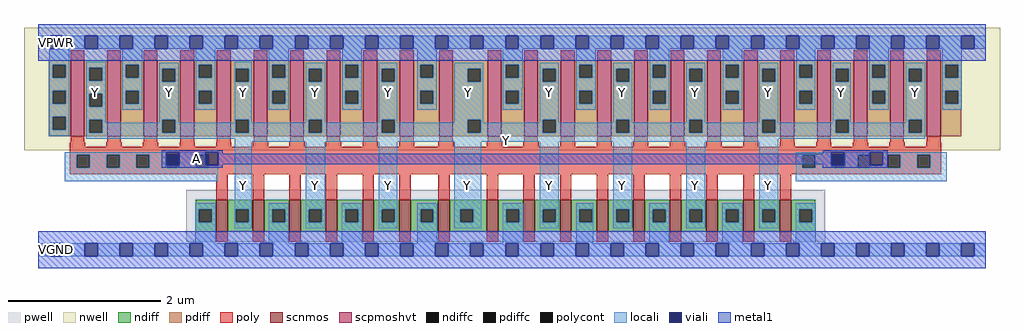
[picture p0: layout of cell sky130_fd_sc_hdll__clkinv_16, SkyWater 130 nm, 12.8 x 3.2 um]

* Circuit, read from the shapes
.subckt sky130_fd_sc_hdll__clkinv_16 A VGND VNB VPB VPWR Y
XM1 Y A VGND VNB sky130_fd_pr__nfet_01v8 w=0.42 l=0.15 m=16
XM2 Y A VPWR VPB sky130_fd_pr__pfet_01v8_hvt w=1 l=0.18 m=24
.ends

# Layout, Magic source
magic
tech sky130A
magscale 1 2
<< nwell >>
rect -38 261 2522 582
<< pwell >>
rect 387 21 2063 157
rect 29 -17 63 17
<< scnmos >>
rect 466 47 496 131
rect 562 47 592 131
rect 658 47 688 131
rect 754 47 784 131
rect 850 47 880 131
rect 946 47 976 131
rect 1049 47 1079 131
rect 1176 47 1206 131
rect 1272 47 1302 131
rect 1368 47 1398 131
rect 1464 47 1494 131
rect 1560 47 1590 131
rect 1656 47 1686 131
rect 1752 47 1782 131
rect 1848 47 1878 131
rect 1944 47 1974 131
<< scpmoshvt >>
rect 84 297 120 497
rect 180 297 216 497
rect 276 297 312 497
rect 372 297 408 497
rect 468 297 504 497
rect 564 297 600 497
rect 660 297 696 497
rect 756 297 792 497
rect 852 297 888 497
rect 948 297 984 497
rect 1051 297 1087 497
rect 1178 297 1214 497
rect 1274 297 1310 497
rect 1370 297 1406 497
rect 1466 297 1502 497
rect 1562 297 1598 497
rect 1658 297 1694 497
rect 1754 297 1790 497
rect 1850 297 1886 497
rect 1946 297 1982 497
rect 2042 297 2078 497
rect 2138 297 2174 497
rect 2234 297 2270 497
rect 2330 297 2366 497
<< ndiff >>
rect 413 106 466 131
rect 413 72 421 106
rect 455 72 466 106
rect 413 47 466 72
rect 496 106 562 131
rect 496 72 517 106
rect 551 72 562 106
rect 496 47 562 72
rect 592 106 658 131
rect 592 72 613 106
rect 647 72 658 106
rect 592 47 658 72
rect 688 106 754 131
rect 688 72 709 106
rect 743 72 754 106
rect 688 47 754 72
rect 784 106 850 131
rect 784 72 805 106
rect 839 72 850 106
rect 784 47 850 72
rect 880 106 946 131
rect 880 72 901 106
rect 935 72 946 106
rect 880 47 946 72
rect 976 106 1049 131
rect 976 72 1002 106
rect 1036 72 1049 106
rect 976 47 1049 72
rect 1079 106 1176 131
rect 1079 72 1106 106
rect 1140 72 1176 106
rect 1079 47 1176 72
rect 1206 106 1272 131
rect 1206 72 1227 106
rect 1261 72 1272 106
rect 1206 47 1272 72
rect 1302 106 1368 131
rect 1302 72 1323 106
rect 1357 72 1368 106
rect 1302 47 1368 72
rect 1398 106 1464 131
rect 1398 72 1419 106
rect 1453 72 1464 106
rect 1398 47 1464 72
rect 1494 106 1560 131
rect 1494 72 1515 106
rect 1549 72 1560 106
rect 1494 47 1560 72
rect 1590 106 1656 131
rect 1590 72 1611 106
rect 1645 72 1656 106
rect 1590 47 1656 72
rect 1686 106 1752 131
rect 1686 72 1707 106
rect 1741 72 1752 106
rect 1686 47 1752 72
rect 1782 106 1848 131
rect 1782 72 1803 106
rect 1837 72 1848 106
rect 1782 47 1848 72
rect 1878 106 1944 131
rect 1878 72 1899 106
rect 1933 72 1944 106
rect 1878 47 1944 72
rect 1974 106 2037 131
rect 1974 72 1995 106
rect 2029 72 2037 106
rect 1974 47 2037 72
<< pdiff >>
rect 27 485 84 497
rect 27 451 38 485
rect 72 451 84 485
rect 27 417 84 451
rect 27 383 38 417
rect 72 383 84 417
rect 27 349 84 383
rect 27 315 38 349
rect 72 315 84 349
rect 27 297 84 315
rect 120 477 180 497
rect 120 443 133 477
rect 167 443 180 477
rect 120 409 180 443
rect 120 375 133 409
rect 167 375 180 409
rect 120 341 180 375
rect 120 307 133 341
rect 167 307 180 341
rect 120 297 180 307
rect 216 485 276 497
rect 216 451 229 485
rect 263 451 276 485
rect 216 417 276 451
rect 216 383 229 417
rect 263 383 276 417
rect 216 297 276 383
rect 312 474 372 497
rect 312 440 325 474
rect 359 440 372 474
rect 312 341 372 440
rect 312 307 325 341
rect 359 307 372 341
rect 312 297 372 307
rect 408 485 468 497
rect 408 451 421 485
rect 455 451 468 485
rect 408 417 468 451
rect 408 383 421 417
rect 455 383 468 417
rect 408 297 468 383
rect 504 474 564 497
rect 504 440 517 474
rect 551 440 564 474
rect 504 341 564 440
rect 504 307 517 341
rect 551 307 564 341
rect 504 297 564 307
rect 600 485 660 497
rect 600 451 613 485
rect 647 451 660 485
rect 600 417 660 451
rect 600 383 613 417
rect 647 383 660 417
rect 600 297 660 383
rect 696 474 756 497
rect 696 440 709 474
rect 743 440 756 474
rect 696 341 756 440
rect 696 307 709 341
rect 743 307 756 341
rect 696 297 756 307
rect 792 485 852 497
rect 792 451 805 485
rect 839 451 852 485
rect 792 417 852 451
rect 792 383 805 417
rect 839 383 852 417
rect 792 297 852 383
rect 888 474 948 497
rect 888 440 901 474
rect 935 440 948 474
rect 888 341 948 440
rect 888 307 901 341
rect 935 307 948 341
rect 888 297 948 307
rect 984 485 1051 497
rect 984 451 1001 485
rect 1035 451 1051 485
rect 984 417 1051 451
rect 984 383 1001 417
rect 1035 383 1051 417
rect 984 297 1051 383
rect 1087 474 1178 497
rect 1087 440 1126 474
rect 1160 440 1178 474
rect 1087 341 1178 440
rect 1087 307 1126 341
rect 1160 307 1178 341
rect 1087 297 1178 307
rect 1214 485 1274 497
rect 1214 451 1226 485
rect 1260 451 1274 485
rect 1214 417 1274 451
rect 1214 383 1226 417
rect 1260 383 1274 417
rect 1214 297 1274 383
rect 1310 474 1370 497
rect 1310 440 1323 474
rect 1357 440 1370 474
rect 1310 341 1370 440
rect 1310 307 1323 341
rect 1357 307 1370 341
rect 1310 297 1370 307
rect 1406 485 1466 497
rect 1406 451 1419 485
rect 1453 451 1466 485
rect 1406 417 1466 451
rect 1406 383 1419 417
rect 1453 383 1466 417
rect 1406 297 1466 383
rect 1502 474 1562 497
rect 1502 440 1515 474
rect 1549 440 1562 474
rect 1502 341 1562 440
rect 1502 307 1515 341
rect 1549 307 1562 341
rect 1502 297 1562 307
rect 1598 485 1658 497
rect 1598 451 1611 485
rect 1645 451 1658 485
rect 1598 417 1658 451
rect 1598 383 1611 417
rect 1645 383 1658 417
rect 1598 297 1658 383
rect 1694 474 1754 497
rect 1694 440 1707 474
rect 1741 440 1754 474
rect 1694 341 1754 440
rect 1694 307 1707 341
rect 1741 307 1754 341
rect 1694 297 1754 307
rect 1790 485 1850 497
rect 1790 451 1803 485
rect 1837 451 1850 485
rect 1790 417 1850 451
rect 1790 383 1803 417
rect 1837 383 1850 417
rect 1790 297 1850 383
rect 1886 474 1946 497
rect 1886 440 1899 474
rect 1933 440 1946 474
rect 1886 341 1946 440
rect 1886 307 1899 341
rect 1933 307 1946 341
rect 1886 297 1946 307
rect 1982 485 2042 497
rect 1982 451 1995 485
rect 2029 451 2042 485
rect 1982 417 2042 451
rect 1982 383 1995 417
rect 2029 383 2042 417
rect 1982 297 2042 383
rect 2078 474 2138 497
rect 2078 440 2091 474
rect 2125 440 2138 474
rect 2078 341 2138 440
rect 2078 307 2091 341
rect 2125 307 2138 341
rect 2078 297 2138 307
rect 2174 485 2234 497
rect 2174 451 2187 485
rect 2221 451 2234 485
rect 2174 417 2234 451
rect 2174 383 2187 417
rect 2221 383 2234 417
rect 2174 297 2234 383
rect 2270 474 2330 497
rect 2270 440 2283 474
rect 2317 440 2330 474
rect 2270 341 2330 440
rect 2270 307 2283 341
rect 2317 307 2330 341
rect 2270 297 2330 307
rect 2366 485 2421 497
rect 2366 451 2378 485
rect 2412 451 2421 485
rect 2366 417 2421 451
rect 2366 383 2378 417
rect 2412 383 2421 417
rect 2366 297 2421 383
<< ndiffc >>
rect 421 72 455 106
rect 517 72 551 106
rect 613 72 647 106
rect 709 72 743 106
rect 805 72 839 106
rect 901 72 935 106
rect 1002 72 1036 106
rect 1106 72 1140 106
rect 1227 72 1261 106
rect 1323 72 1357 106
rect 1419 72 1453 106
rect 1515 72 1549 106
rect 1611 72 1645 106
rect 1707 72 1741 106
rect 1803 72 1837 106
rect 1899 72 1933 106
rect 1995 72 2029 106
<< pdiffc >>
rect 38 451 72 485
rect 38 383 72 417
rect 38 315 72 349
rect 133 443 167 477
rect 133 375 167 409
rect 133 307 167 341
rect 229 451 263 485
rect 229 383 263 417
rect 325 440 359 474
rect 325 307 359 341
rect 421 451 455 485
rect 421 383 455 417
rect 517 440 551 474
rect 517 307 551 341
rect 613 451 647 485
rect 613 383 647 417
rect 709 440 743 474
rect 709 307 743 341
rect 805 451 839 485
rect 805 383 839 417
rect 901 440 935 474
rect 901 307 935 341
rect 1001 451 1035 485
rect 1001 383 1035 417
rect 1126 440 1160 474
rect 1126 307 1160 341
rect 1226 451 1260 485
rect 1226 383 1260 417
rect 1323 440 1357 474
rect 1323 307 1357 341
rect 1419 451 1453 485
rect 1419 383 1453 417
rect 1515 440 1549 474
rect 1515 307 1549 341
rect 1611 451 1645 485
rect 1611 383 1645 417
rect 1707 440 1741 474
rect 1707 307 1741 341
rect 1803 451 1837 485
rect 1803 383 1837 417
rect 1899 440 1933 474
rect 1899 307 1933 341
rect 1995 451 2029 485
rect 1995 383 2029 417
rect 2091 440 2125 474
rect 2091 307 2125 341
rect 2187 451 2221 485
rect 2187 383 2221 417
rect 2283 440 2317 474
rect 2283 307 2317 341
rect 2378 451 2412 485
rect 2378 383 2412 417
<< poly >>
rect 84 497 120 523
rect 180 497 216 523
rect 276 497 312 523
rect 372 497 408 523
rect 468 497 504 523
rect 564 497 600 523
rect 660 497 696 523
rect 756 497 792 523
rect 852 497 888 523
rect 948 497 984 523
rect 1051 497 1087 523
rect 1178 497 1214 523
rect 1274 497 1310 523
rect 1370 497 1406 523
rect 1466 497 1502 523
rect 1562 497 1598 523
rect 1658 497 1694 523
rect 1754 497 1790 523
rect 1850 497 1886 523
rect 1946 497 1982 523
rect 2042 497 2078 523
rect 2138 497 2174 523
rect 2234 497 2270 523
rect 2330 497 2366 523
rect 84 282 120 297
rect 180 282 216 297
rect 276 282 312 297
rect 372 282 408 297
rect 468 282 504 297
rect 564 282 600 297
rect 660 282 696 297
rect 756 282 792 297
rect 852 282 888 297
rect 948 282 984 297
rect 1051 282 1087 297
rect 1178 282 1214 297
rect 1274 282 1310 297
rect 1370 282 1406 297
rect 1466 282 1502 297
rect 1562 282 1598 297
rect 1658 282 1694 297
rect 1754 282 1790 297
rect 1850 282 1886 297
rect 1946 282 1982 297
rect 2042 282 2078 297
rect 2138 282 2174 297
rect 2234 282 2270 297
rect 2330 282 2366 297
rect 82 270 122 282
rect 178 270 218 282
rect 274 270 314 282
rect 370 270 410 282
rect 466 270 506 282
rect 562 270 602 282
rect 658 270 698 282
rect 754 270 794 282
rect 850 270 890 282
rect 946 270 986 282
rect 1049 270 1089 282
rect 1176 270 1216 282
rect 1272 270 1312 282
rect 1368 270 1408 282
rect 1464 270 1504 282
rect 1560 270 1600 282
rect 1656 270 1696 282
rect 1752 270 1792 282
rect 1848 270 1888 282
rect 1944 270 1984 282
rect 2040 270 2080 282
rect 2136 270 2176 282
rect 2232 270 2272 282
rect 2328 270 2368 282
rect 82 249 2368 270
rect 82 215 101 249
rect 135 215 179 249
rect 213 215 257 249
rect 291 215 335 249
rect 369 215 413 249
rect 447 215 2003 249
rect 2037 215 2081 249
rect 2115 215 2149 249
rect 2183 215 2227 249
rect 2261 215 2305 249
rect 2339 215 2368 249
rect 82 198 2368 215
rect 466 131 496 198
rect 562 131 592 198
rect 658 131 688 198
rect 754 131 784 198
rect 850 131 880 198
rect 946 131 976 198
rect 1049 131 1079 198
rect 1176 131 1206 198
rect 1272 131 1302 198
rect 1368 131 1398 198
rect 1464 131 1494 198
rect 1560 131 1590 198
rect 1656 131 1686 198
rect 1752 131 1782 198
rect 1848 131 1878 198
rect 1944 131 1974 198
rect 466 21 496 47
rect 562 21 592 47
rect 658 21 688 47
rect 754 21 784 47
rect 850 21 880 47
rect 946 21 976 47
rect 1049 21 1079 47
rect 1176 21 1206 47
rect 1272 21 1302 47
rect 1368 21 1398 47
rect 1464 21 1494 47
rect 1560 21 1590 47
rect 1656 21 1686 47
rect 1752 21 1782 47
rect 1848 21 1878 47
rect 1944 21 1974 47
<< polycont >>
rect 101 215 135 249
rect 179 215 213 249
rect 257 215 291 249
rect 335 215 369 249
rect 413 215 447 249
rect 2003 215 2037 249
rect 2081 215 2115 249
rect 2149 215 2183 249
rect 2227 215 2261 249
rect 2305 215 2339 249
<< locali >>
rect 0 527 29 561
rect 63 527 121 561
rect 155 527 213 561
rect 247 527 305 561
rect 339 527 397 561
rect 431 527 489 561
rect 523 527 581 561
rect 615 527 673 561
rect 707 527 765 561
rect 799 527 857 561
rect 891 527 949 561
rect 983 527 1041 561
rect 1075 527 1133 561
rect 1167 527 1225 561
rect 1259 527 1317 561
rect 1351 527 1409 561
rect 1443 527 1501 561
rect 1535 527 1593 561
rect 1627 527 1685 561
rect 1719 527 1777 561
rect 1811 527 1869 561
rect 1903 527 1961 561
rect 1995 527 2053 561
rect 2087 527 2145 561
rect 2179 527 2237 561
rect 2271 527 2329 561
rect 2363 527 2421 561
rect 2455 527 2484 561
rect 28 485 81 527
rect 28 451 38 485
rect 72 451 81 485
rect 28 417 81 451
rect 28 383 38 417
rect 72 383 81 417
rect 28 349 81 383
rect 28 315 38 349
rect 72 315 81 349
rect 28 299 81 315
rect 125 477 176 493
rect 125 443 133 477
rect 167 443 176 477
rect 125 409 176 443
rect 125 375 133 409
rect 167 375 176 409
rect 125 341 176 375
rect 220 485 272 527
rect 220 451 229 485
rect 263 451 272 485
rect 220 417 272 451
rect 220 383 229 417
rect 263 383 272 417
rect 220 367 272 383
rect 317 474 368 490
rect 317 440 325 474
rect 359 440 368 474
rect 125 307 133 341
rect 167 333 176 341
rect 317 341 368 440
rect 413 485 464 527
rect 413 451 421 485
rect 455 451 464 485
rect 413 417 464 451
rect 413 383 421 417
rect 455 383 464 417
rect 413 367 464 383
rect 515 474 560 493
rect 515 440 517 474
rect 551 440 560 474
rect 317 333 325 341
rect 167 307 325 333
rect 359 333 368 341
rect 515 341 560 440
rect 604 485 656 527
rect 604 451 613 485
rect 647 451 656 485
rect 604 417 656 451
rect 604 383 613 417
rect 647 383 656 417
rect 604 367 656 383
rect 701 474 752 490
rect 701 440 709 474
rect 743 440 752 474
rect 515 333 517 341
rect 359 307 517 333
rect 551 333 560 341
rect 701 341 752 440
rect 797 485 848 527
rect 797 451 805 485
rect 839 451 848 485
rect 797 417 848 451
rect 797 383 805 417
rect 839 383 848 417
rect 797 367 848 383
rect 893 474 941 490
rect 893 440 901 474
rect 935 440 941 474
rect 701 333 709 341
rect 551 307 709 333
rect 743 333 752 341
rect 893 341 941 440
rect 993 485 1044 527
rect 993 451 1001 485
rect 1035 451 1044 485
rect 993 417 1044 451
rect 993 383 1001 417
rect 1035 383 1044 417
rect 993 367 1044 383
rect 1091 474 1166 490
rect 1091 440 1126 474
rect 1160 440 1166 474
rect 893 333 901 341
rect 743 307 901 333
rect 935 333 941 341
rect 1091 341 1166 440
rect 1218 485 1270 527
rect 1218 451 1226 485
rect 1260 451 1270 485
rect 1218 424 1270 451
rect 1315 474 1365 490
rect 1315 440 1323 474
rect 1357 440 1365 474
rect 1218 417 1269 424
rect 1218 383 1226 417
rect 1260 383 1269 417
rect 1218 367 1269 383
rect 1091 333 1126 341
rect 935 307 1126 333
rect 1160 333 1166 341
rect 1315 341 1365 440
rect 1411 485 1462 527
rect 1411 451 1419 485
rect 1453 451 1462 485
rect 1411 417 1462 451
rect 1411 383 1419 417
rect 1453 383 1462 417
rect 1411 367 1462 383
rect 1507 474 1557 490
rect 1507 440 1515 474
rect 1549 440 1557 474
rect 1315 333 1323 341
rect 1160 307 1323 333
rect 1357 333 1365 341
rect 1507 341 1557 440
rect 1603 485 1654 527
rect 1603 451 1611 485
rect 1645 451 1654 485
rect 1603 417 1654 451
rect 1603 383 1611 417
rect 1645 383 1654 417
rect 1603 367 1654 383
rect 1699 474 1749 490
rect 1699 440 1707 474
rect 1741 440 1749 474
rect 1507 333 1515 341
rect 1357 307 1515 333
rect 1549 333 1557 341
rect 1699 341 1749 440
rect 1795 485 1846 527
rect 1795 451 1803 485
rect 1837 451 1846 485
rect 1795 417 1846 451
rect 1795 383 1803 417
rect 1837 383 1846 417
rect 1795 367 1846 383
rect 1891 474 1941 490
rect 1891 440 1899 474
rect 1933 440 1941 474
rect 1699 333 1707 341
rect 1549 307 1707 333
rect 1741 333 1749 341
rect 1891 341 1941 440
rect 1987 485 2038 527
rect 1987 451 1995 485
rect 2029 451 2038 485
rect 1987 417 2038 451
rect 1987 383 1995 417
rect 2029 383 2038 417
rect 1987 367 2038 383
rect 2083 474 2131 490
rect 2083 440 2091 474
rect 2125 440 2131 474
rect 1891 333 1899 341
rect 1741 307 1899 333
rect 1933 333 1941 341
rect 2083 341 2131 440
rect 2179 485 2230 527
rect 2179 451 2187 485
rect 2221 451 2230 485
rect 2179 417 2230 451
rect 2179 383 2187 417
rect 2221 383 2230 417
rect 2179 367 2230 383
rect 2275 474 2326 490
rect 2275 440 2283 474
rect 2317 440 2326 474
rect 2083 333 2091 341
rect 1933 307 2091 333
rect 2125 333 2131 341
rect 2275 341 2326 440
rect 2370 485 2422 527
rect 2370 451 2378 485
rect 2412 451 2422 485
rect 2370 417 2422 451
rect 2370 383 2378 417
rect 2412 383 2422 417
rect 2370 367 2422 383
rect 2275 333 2283 341
rect 2125 307 2283 333
rect 2317 307 2326 341
rect 125 291 2326 307
rect 515 283 1941 291
rect 69 249 335 255
rect 369 249 437 255
rect 69 215 101 249
rect 135 215 179 249
rect 213 215 257 249
rect 291 215 335 249
rect 369 215 413 249
rect 447 215 471 221
rect 69 179 471 215
rect 411 106 465 122
rect 411 72 421 106
rect 455 72 465 106
rect 411 17 465 72
rect 515 106 560 283
rect 515 72 517 106
rect 551 72 560 106
rect 515 56 560 72
rect 604 106 657 122
rect 604 72 613 106
rect 647 72 657 106
rect 604 17 657 72
rect 701 106 752 283
rect 701 72 709 106
rect 743 72 752 106
rect 701 56 752 72
rect 796 106 849 122
rect 796 72 805 106
rect 839 72 849 106
rect 796 17 849 72
rect 893 106 941 283
rect 893 72 901 106
rect 935 72 941 106
rect 893 56 941 72
rect 993 106 1046 122
rect 993 72 1002 106
rect 1036 72 1046 106
rect 993 17 1046 72
rect 1091 106 1161 283
rect 1091 72 1106 106
rect 1140 72 1161 106
rect 1091 56 1161 72
rect 1218 106 1271 122
rect 1218 72 1227 106
rect 1261 72 1271 106
rect 1218 17 1271 72
rect 1315 106 1365 283
rect 1315 72 1323 106
rect 1357 72 1365 106
rect 1315 56 1365 72
rect 1410 106 1455 122
rect 1410 72 1419 106
rect 1453 72 1455 106
rect 1410 17 1455 72
rect 1507 106 1557 283
rect 1507 72 1515 106
rect 1549 72 1557 106
rect 1507 56 1557 72
rect 1602 106 1655 122
rect 1602 72 1611 106
rect 1645 72 1655 106
rect 1602 17 1655 72
rect 1699 106 1749 283
rect 1699 72 1707 106
rect 1741 72 1749 106
rect 1699 56 1749 72
rect 1794 106 1847 122
rect 1794 72 1803 106
rect 1837 72 1847 106
rect 1794 17 1847 72
rect 1891 106 1941 283
rect 1986 249 2079 255
rect 2113 249 2181 255
rect 2215 249 2382 255
rect 1986 215 2003 249
rect 2037 221 2079 249
rect 2037 215 2081 221
rect 2115 215 2149 249
rect 2215 221 2227 249
rect 2183 215 2227 221
rect 2261 215 2305 249
rect 2339 215 2382 249
rect 1986 179 2382 215
rect 1891 72 1899 106
rect 1933 72 1941 106
rect 1891 56 1941 72
rect 1986 106 2039 122
rect 1986 72 1995 106
rect 2029 72 2039 106
rect 1986 17 2039 72
rect 0 -17 29 17
rect 63 -17 121 17
rect 155 -17 213 17
rect 247 -17 305 17
rect 339 -17 397 17
rect 431 -17 489 17
rect 523 -17 581 17
rect 615 -17 673 17
rect 707 -17 765 17
rect 799 -17 857 17
rect 891 -17 949 17
rect 983 -17 1041 17
rect 1075 -17 1133 17
rect 1167 -17 1225 17
rect 1259 -17 1317 17
rect 1351 -17 1409 17
rect 1443 -17 1501 17
rect 1535 -17 1593 17
rect 1627 -17 1685 17
rect 1719 -17 1777 17
rect 1811 -17 1869 17
rect 1903 -17 1961 17
rect 1995 -17 2053 17
rect 2087 -17 2145 17
rect 2179 -17 2237 17
rect 2271 -17 2329 17
rect 2363 -17 2421 17
rect 2455 -17 2484 17
<< viali >>
rect 29 527 63 561
rect 121 527 155 561
rect 213 527 247 561
rect 305 527 339 561
rect 397 527 431 561
rect 489 527 523 561
rect 581 527 615 561
rect 673 527 707 561
rect 765 527 799 561
rect 857 527 891 561
rect 949 527 983 561
rect 1041 527 1075 561
rect 1133 527 1167 561
rect 1225 527 1259 561
rect 1317 527 1351 561
rect 1409 527 1443 561
rect 1501 527 1535 561
rect 1593 527 1627 561
rect 1685 527 1719 561
rect 1777 527 1811 561
rect 1869 527 1903 561
rect 1961 527 1995 561
rect 2053 527 2087 561
rect 2145 527 2179 561
rect 2237 527 2271 561
rect 2329 527 2363 561
rect 2421 527 2455 561
rect 335 249 369 255
rect 437 249 471 255
rect 335 221 369 249
rect 437 221 447 249
rect 447 221 471 249
rect 2079 249 2113 255
rect 2181 249 2215 255
rect 2079 221 2081 249
rect 2081 221 2113 249
rect 2181 221 2183 249
rect 2183 221 2215 249
rect 29 -17 63 17
rect 121 -17 155 17
rect 213 -17 247 17
rect 305 -17 339 17
rect 397 -17 431 17
rect 489 -17 523 17
rect 581 -17 615 17
rect 673 -17 707 17
rect 765 -17 799 17
rect 857 -17 891 17
rect 949 -17 983 17
rect 1041 -17 1075 17
rect 1133 -17 1167 17
rect 1225 -17 1259 17
rect 1317 -17 1351 17
rect 1409 -17 1443 17
rect 1501 -17 1535 17
rect 1593 -17 1627 17
rect 1685 -17 1719 17
rect 1777 -17 1811 17
rect 1869 -17 1903 17
rect 1961 -17 1995 17
rect 2053 -17 2087 17
rect 2145 -17 2179 17
rect 2237 -17 2271 17
rect 2329 -17 2363 17
rect 2421 -17 2455 17
<< metal1 >>
rect 0 561 2484 592
rect 0 527 29 561
rect 63 527 121 561
rect 155 527 213 561
rect 247 527 305 561
rect 339 527 397 561
rect 431 527 489 561
rect 523 527 581 561
rect 615 527 673 561
rect 707 527 765 561
rect 799 527 857 561
rect 891 527 949 561
rect 983 527 1041 561
rect 1075 527 1133 561
rect 1167 527 1225 561
rect 1259 527 1317 561
rect 1351 527 1409 561
rect 1443 527 1501 561
rect 1535 527 1593 561
rect 1627 527 1685 561
rect 1719 527 1777 561
rect 1811 527 1869 561
rect 1903 527 1961 561
rect 1995 527 2053 561
rect 2087 527 2145 561
rect 2179 527 2237 561
rect 2271 527 2329 561
rect 2363 527 2421 561
rect 2455 527 2484 561
rect 0 496 2484 527
rect 323 255 483 261
rect 323 221 335 255
rect 369 221 437 255
rect 471 252 483 255
rect 2057 255 2227 261
rect 2057 252 2079 255
rect 471 224 2079 252
rect 471 221 483 224
rect 323 215 483 221
rect 2057 221 2079 224
rect 2113 221 2181 255
rect 2215 221 2227 255
rect 2057 215 2227 221
rect 0 17 2484 48
rect 0 -17 29 17
rect 63 -17 121 17
rect 155 -17 213 17
rect 247 -17 305 17
rect 339 -17 397 17
rect 431 -17 489 17
rect 523 -17 581 17
rect 615 -17 673 17
rect 707 -17 765 17
rect 799 -17 857 17
rect 891 -17 949 17
rect 983 -17 1041 17
rect 1075 -17 1133 17
rect 1167 -17 1225 17
rect 1259 -17 1317 17
rect 1351 -17 1409 17
rect 1443 -17 1501 17
rect 1535 -17 1593 17
rect 1627 -17 1685 17
rect 1719 -17 1777 17
rect 1811 -17 1869 17
rect 1903 -17 1961 17
rect 1995 -17 2053 17
rect 2087 -17 2145 17
rect 2179 -17 2237 17
rect 2271 -17 2329 17
rect 2363 -17 2421 17
rect 2455 -17 2484 17
rect 0 -48 2484 -17
<< labels >>
flabel locali s 2275 333 2326 490 0 FreeSans 400 0 0 0 Y
port 6 nsew signal output
flabel locali s 397 221 431 255 0 FreeSans 400 0 0 0 A
port 1 nsew signal input
flabel metal1 s 29 -17 63 17 0 FreeSans 200 0 0 0 VGND
port 2 nsew ground bidirectional
flabel metal1 s 29 527 63 561 0 FreeSans 200 0 0 0 VPWR
port 5 nsew power bidirectional
flabel pwell s 29 -17 63 17 0 FreeSans 200 0 0 0 VNB
port 3 nsew ground bidirectional
flabel nwell s 29 527 63 561 0 FreeSans 200 0 0 0 VPB
port 4 nsew power bidirectional
rlabel comment s 0 0 0 0 4 clkinv_16
rlabel locali s 2083 333 2131 490 1 Y
port 6 nsew signal output
rlabel locali s 1891 333 1941 490 1 Y
port 6 nsew signal output
rlabel locali s 1891 56 1941 283 1 Y
port 6 nsew signal output
rlabel locali s 1699 333 1749 490 1 Y
port 6 nsew signal output
rlabel locali s 1699 56 1749 283 1 Y
port 6 nsew signal output
rlabel locali s 1507 333 1557 490 1 Y
port 6 nsew signal output
rlabel locali s 1507 56 1557 283 1 Y
port 6 nsew signal output
rlabel locali s 1315 333 1365 490 1 Y
port 6 nsew signal output
rlabel locali s 1315 56 1365 283 1 Y
port 6 nsew signal output
rlabel locali s 1091 333 1166 490 1 Y
port 6 nsew signal output
rlabel locali s 1091 56 1161 283 1 Y
port 6 nsew signal output
rlabel locali s 893 333 941 490 1 Y
port 6 nsew signal output
rlabel locali s 893 56 941 283 1 Y
port 6 nsew signal output
rlabel locali s 701 333 752 490 1 Y
port 6 nsew signal output
rlabel locali s 701 56 752 283 1 Y
port 6 nsew signal output
rlabel locali s 515 333 560 493 1 Y
port 6 nsew signal output
rlabel locali s 515 283 1941 291 1 Y
port 6 nsew signal output
rlabel locali s 515 56 560 283 1 Y
port 6 nsew signal output
rlabel locali s 317 333 368 490 1 Y
port 6 nsew signal output
rlabel locali s 125 333 176 493 1 Y
port 6 nsew signal output
rlabel locali s 125 291 2326 333 1 Y
port 6 nsew signal output
<< properties >>
string LEFsite unithd
string LEFclass CORE
string FIXED_BBOX 0 0 2484 544
string GDS_FILE $PDKPATH/libs.ref/sky130_fd_sc_hdll/gds/sky130_fd_sc_hdll.gds
string LEFsymmetry X Y R90
string GDS_END 2006750
string GDS_START 1992530
string LEFproperties maskLayoutSubType "abstract" prCellType "standard" originalViewName "layout"
<< end >>
